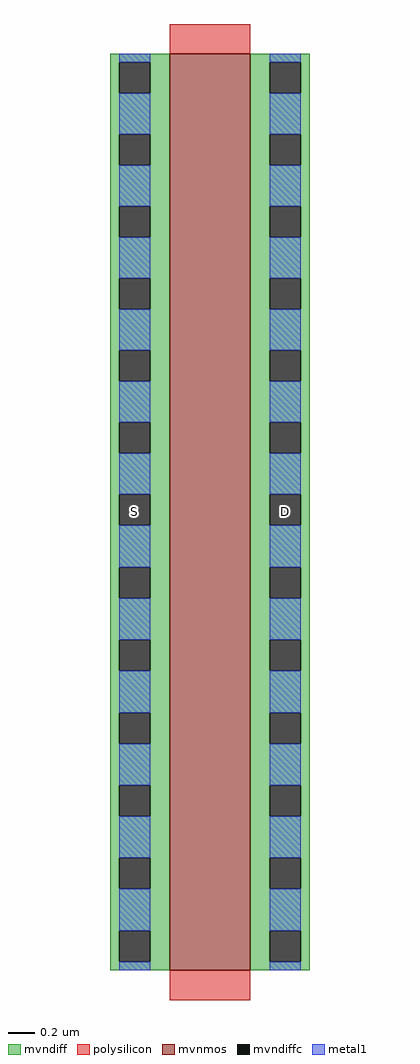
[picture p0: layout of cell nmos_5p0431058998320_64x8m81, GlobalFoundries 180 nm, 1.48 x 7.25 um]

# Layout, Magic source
magic
tech gf180mcuC
magscale 1 10
<< mvnmos >>
rect 0 0 120 1362
<< mvndiff >>
rect -88 1349 0 1362
rect -88 1303 -75 1349
rect -29 1303 0 1349
rect -88 1242 0 1303
rect -88 1196 -75 1242
rect -29 1196 0 1242
rect -88 1135 0 1196
rect -88 1089 -75 1135
rect -29 1089 0 1135
rect -88 1028 0 1089
rect -88 982 -75 1028
rect -29 982 0 1028
rect -88 921 0 982
rect -88 875 -75 921
rect -29 875 0 921
rect -88 814 0 875
rect -88 768 -75 814
rect -29 768 0 814
rect -88 707 0 768
rect -88 661 -75 707
rect -29 661 0 707
rect -88 599 0 661
rect -88 553 -75 599
rect -29 553 0 599
rect -88 491 0 553
rect -88 445 -75 491
rect -29 445 0 491
rect -88 383 0 445
rect -88 337 -75 383
rect -29 337 0 383
rect -88 275 0 337
rect -88 229 -75 275
rect -29 229 0 275
rect -88 167 0 229
rect -88 121 -75 167
rect -29 121 0 167
rect -88 59 0 121
rect -88 13 -75 59
rect -29 13 0 59
rect -88 0 0 13
rect 120 1349 208 1362
rect 120 1303 149 1349
rect 195 1303 208 1349
rect 120 1242 208 1303
rect 120 1196 149 1242
rect 195 1196 208 1242
rect 120 1135 208 1196
rect 120 1089 149 1135
rect 195 1089 208 1135
rect 120 1028 208 1089
rect 120 982 149 1028
rect 195 982 208 1028
rect 120 921 208 982
rect 120 875 149 921
rect 195 875 208 921
rect 120 814 208 875
rect 120 768 149 814
rect 195 768 208 814
rect 120 707 208 768
rect 120 661 149 707
rect 195 661 208 707
rect 120 599 208 661
rect 120 553 149 599
rect 195 553 208 599
rect 120 491 208 553
rect 120 445 149 491
rect 195 445 208 491
rect 120 383 208 445
rect 120 337 149 383
rect 195 337 208 383
rect 120 275 208 337
rect 120 229 149 275
rect 195 229 208 275
rect 120 167 208 229
rect 120 121 149 167
rect 195 121 208 167
rect 120 59 208 121
rect 120 13 149 59
rect 195 13 208 59
rect 120 0 208 13
<< mvndiffc >>
rect -75 1303 -29 1349
rect -75 1196 -29 1242
rect -75 1089 -29 1135
rect -75 982 -29 1028
rect -75 875 -29 921
rect -75 768 -29 814
rect -75 661 -29 707
rect -75 553 -29 599
rect -75 445 -29 491
rect -75 337 -29 383
rect -75 229 -29 275
rect -75 121 -29 167
rect -75 13 -29 59
rect 149 1303 195 1349
rect 149 1196 195 1242
rect 149 1089 195 1135
rect 149 982 195 1028
rect 149 875 195 921
rect 149 768 195 814
rect 149 661 195 707
rect 149 553 195 599
rect 149 445 195 491
rect 149 337 195 383
rect 149 229 195 275
rect 149 121 195 167
rect 149 13 195 59
<< polysilicon >>
rect 0 1362 120 1406
rect 0 -44 120 0
<< metal1 >>
rect -75 1349 -29 1362
rect -75 1242 -29 1303
rect -75 1135 -29 1196
rect -75 1028 -29 1089
rect -75 921 -29 982
rect -75 814 -29 875
rect -75 707 -29 768
rect -75 599 -29 661
rect -75 491 -29 553
rect -75 383 -29 445
rect -75 275 -29 337
rect -75 167 -29 229
rect -75 59 -29 121
rect -75 0 -29 13
rect 149 1349 195 1362
rect 149 1242 195 1303
rect 149 1135 195 1196
rect 149 1028 195 1089
rect 149 921 195 982
rect 149 814 195 875
rect 149 707 195 768
rect 149 599 195 661
rect 149 491 195 553
rect 149 383 195 445
rect 149 275 195 337
rect 149 167 195 229
rect 149 59 195 121
rect 149 0 195 13
<< labels >>
flabel metal1 s -52 681 -52 681 0 FreeSans 200 0 0 0 S
flabel metal1 s 172 681 172 681 0 FreeSans 200 0 0 0 D
<< properties >>
string GDS_END 45292
string GDS_FILE $PDKPATH/libs.ref/gf180mcu_fd_ip_sram/gds/gf180mcu_fd_ip_sram__sram64x8m8wm1.gds
string GDS_START 42732
<< end >>
